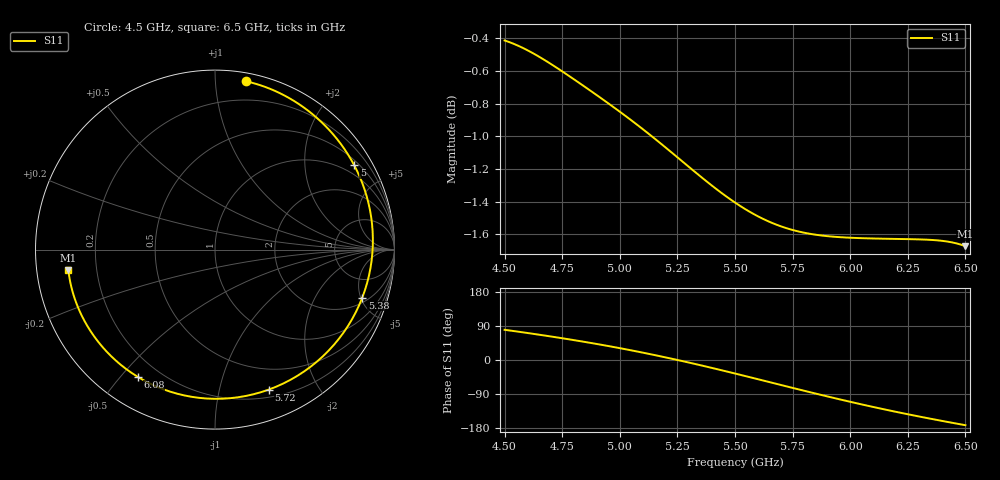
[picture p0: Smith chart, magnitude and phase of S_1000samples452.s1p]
! TOUCHSTONE file generated by CST MICROWAVE STUDIO
! Date and time: Fri Oct 28 05:29:29 2022
! Project name: L.cst
! Parameters = {Di=1.27; Epsilon_r=1.56; InnerDiameter=1.27; Length=2; Lf=10; Lg=60; OuterConductorThickness=0.2921; OuterDiameter=3.6; Wf=3; Wp=41.2; de=1.5; df=6.8; g=0.8; gx=4.02762; gy=0.789993; h=2.34; hf=1.524; px=9.5199; py=8.49903; w=9.7; wx=5.49228; wy=7.70904}
! Header version: 2018
! Port assignment regex: !\s*Touchstone port\s*([0-9]+)\s*=\s*(CST MWS port|CST DS port)\s*([0-9]+|Zmin|Zmax)\s*\(\"(.*)\"\)(\s*mode\s*([0-9]+))?.*
! Touchstone port assignment:
! Touchstone port 1 = CST MWS port 1 ("")
# GHz S DB R 50
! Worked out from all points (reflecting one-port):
!   101 points, 4.5 GHz to 6.5 GHz, reference 50 ohm
!   lowest |S11| = -1.7 dB at 6.5 GHz (marker M1), VSWR 10.42, Z = 4.82 - j3.43 ohm
!   phase of S11 starts at 80 deg and turns -252 deg over the sweep
!   S11 on the Smith chart (normalised r, x): 4.5 GHz: 0.06, +1.20; 5 GHz: 0.65, +3.46; 5.38 GHz: 2.46, -5.15; 5.72 GHz: 0.27, -1.42; 6.08 GHz: 0.12, -0.56; 6.5 GHz: 0.10, -0.07
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4.5  -0.41 79.7
4.64  -0.50 67.6
4.76  -0.61 56.5
4.88  -0.73 44.4
5  -0.85 31.2
5.08  -0.93 21.8
5.14  -1.00 14.4
5.2  -1.07 6.7
5.26  -1.14 -1.3
5.32  -1.21 -9.6
5.38  -1.28 -18.1
5.44  -1.34 -26.8
5.5  -1.41 -35.7
5.56  -1.46 -44.7
5.62  -1.50 -53.8
5.72  -1.56 -69.0
5.76  -1.58 -75.1
5.82  -1.60 -84.1
5.88  -1.61 -93.0
5.94  -1.62 -101.8
6  -1.62 -110.3
6.08  -1.62 -121.3
6.18  -1.63 -134.4
6.26  -1.63 -144.4
6.32  -1.63 -151.6
6.38  -1.64 -158.6
6.44  -1.65 -165.4
6.5  -1.67 -172.1
